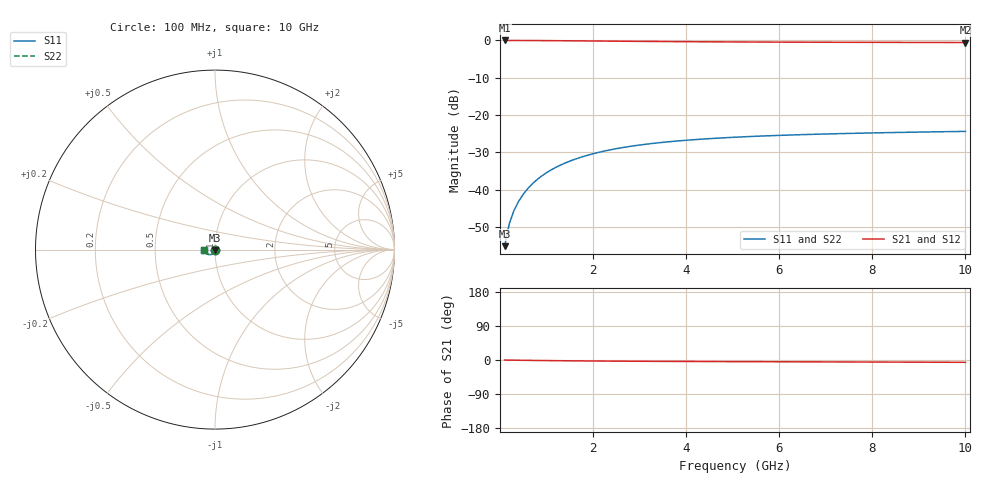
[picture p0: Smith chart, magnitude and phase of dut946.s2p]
! Touchstone file exported from HFSS 2024.1.0
!  File:  C:/UserFiles/LocalFiles/RDL_TSV_Batchsim/temp_TSV1_946_1779948563.aedt
!  Generated:  02:15:58 PM May 28, 2026
!  Design:  TSV1
!  Project:  temp_TSV1_946_1779948563
!  Setup:  Setup1
!  Solution:  Sweep
! Variables:
!  dtsv = 12.04um
!  hbump = 3um
!  htsv = 96.17um
!  lrdl = 252.1521522um
!  p = 40
!  p1 = 53.47um
!  t = 500um
!  trdl = 3um
!  wrdl = 24.89489489um
# GHz S MA R 50.000000
! Terminal data exported
! Port[1] = TSV22_T1
! Port[2] = TSV22_T2
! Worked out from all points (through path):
!   100 points, 100 MHz to 10 GHz, reference 50 ohm
!   highest |S21| = 0.00 dB at 100 MHz (marker M1); lowest = -0.6 dB at 10 GHz (marker M2)
!   lowest |S11| = -55.2 dB at 100 MHz (marker M3), VSWR 1.00, Z = 50 - j0.174 ohm
!   |S11| at or under -10 dB: start of sweep to end of sweep
!   |S22| runs from -55.2 to -24.4 dB; largest |S21 - S12| = 4.4e-15
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0.1  0.001743 -88.1  0.9998 -0.2  0.9998 -0.2  0.001743 -88.1
! Gamma 0 0 0 0
! Port Impedance 50 0 50 0
0.2  0.00348 -91.7  0.9996 -0.3  0.9996 -0.3  0.00348 -91.7
0.3  0.005215 -94.0  0.9993 -0.5  0.9993 -0.5  0.005215 -94.0
0.4  0.006942 -96.1  0.9989 -0.6  0.9989 -0.6  0.006942 -96.1
0.5  0.008654 -98.1  0.9984 -0.8  0.9984 -0.8  0.008654 -98.1
0.6  0.01035 -100.0  0.9979 -0.9  0.9979 -0.9  0.01035 -100.0
0.7  0.01201 -101.9  0.9972 -1.1  0.9972 -1.1  0.01201 -101.9
0.8  0.01365 -103.8  0.9964 -1.2  0.9964 -1.2  0.01365 -103.8
0.9  0.01526 -105.6  0.9956 -1.4  0.9956 -1.4  0.01526 -105.6
1.1  0.01836 -109.1  0.9937 -1.6  0.9937 -1.6  0.01836 -109.1
1.4  0.02271 -114.1  0.9905 -2.0  0.9905 -2.0  0.02271 -114.1
1.6  0.0254 -117.2  0.9882 -2.2  0.9882 -2.2  0.0254 -117.2
1.8  0.02791 -120.2  0.9859 -2.4  0.9859 -2.4  0.02791 -120.2
2.1  0.03135 -124.5  0.9823 -2.7  0.9823 -2.7  0.03135 -124.5
2.5  0.03537 -129.7  0.9775 -3.0  0.9775 -3.0  0.03537 -129.7
2.9  0.03879 -134.3  0.9731 -3.3  0.9731 -3.3  0.03879 -134.3
3.4  0.04238 -139.5  0.968 -3.6  0.968 -3.6  0.04238 -139.5
4.2  0.04685 -146.7  0.9611 -4.0  0.9611 -4.0  0.04685 -146.7
5.1  0.05056 -153.3  0.955 -4.3  0.955 -4.3  0.05056 -153.3
6.7  0.05504 -162.6  0.9472 -4.9  0.9472 -4.9  0.05504 -162.6
8.4  0.05816 -170.4  0.9419 -5.5  0.9419 -5.5  0.05816 -170.4
10  0.0603 -176.5  0.9385 -6.1  0.9385 -6.1  0.0603 -176.5
